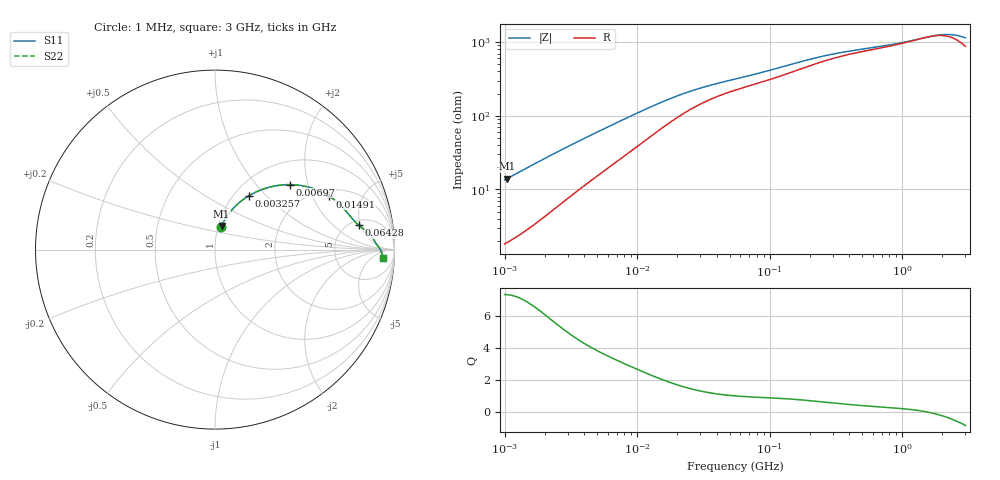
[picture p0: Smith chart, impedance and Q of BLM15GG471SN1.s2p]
! BLM15GG471SN1
# Hz S RI R 50
!Freq.(Hz) S11(Real) S11(Imag) S21(Real) S21(Imag) S12(Real) S12(Imag) S22(Real) S22(Imag)
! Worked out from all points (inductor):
!   401 points, 1 MHz to 3 GHz, reference 50 ohm
!   read as one part in series: L = 2.11 uH near 1.041 MHz
!   highest Q = 7.31 at 1.041 MHz (marker M1), where L = 2.12 uH
!   self-resonance near 1.551 GHz
!   S11 on the Smith chart (normalised r, x): 1 MHz: 1.04, +0.27; 3.257 MHz: 1.17, +0.81; 6.97 MHz: 1.47, +1.53; 14.91 MHz: 2.31, +2.70; 64.28 MHz: 5.86, +4.68; 3 GHz: 19, -15
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1000000  0.0345 0.1266  0.9655 -0.1266  0.9655 -0.1266  0.0345 0.1266
1040844  0.0365 0.1313  0.9635 -0.1313  0.9635 -0.1313  0.0365 0.1313
1897447  0.0895 0.2162  0.9105 -0.2162  0.9105 -0.2162  0.0895 0.2162
2511129  0.1344 0.2612  0.8656 -0.2612  0.8656 -0.2612  0.1344 0.2612
3257432  0.1901 0.3008  0.8099 -0.3008  0.8099 -0.3008  0.1901 0.3008
3823119  0.2308 0.3221  0.7692 -0.3221  0.7692 -0.3221  0.2308 0.3221
5266264  0.3246 0.3527  0.6754 -0.3527  0.6754 -0.3527  0.3246 0.3527
6969505  0.4154 0.362  0.5846 -0.362  0.5846 -0.362  0.4154 0.362
9794439  0.5251 0.3472  0.4749 -0.3472  0.4749 -0.3472  0.5251 0.3472
1.461624e7  0.633 0.2993  0.367 -0.2993  0.367 -0.2993  0.633 0.2993
1.491174e7  0.6375 0.2964  0.3625 -0.2964  0.3625 -0.2964  0.6375 0.2964
1.934349e7  0.6878 0.2575  0.3122 -0.2575  0.3122 -0.2575  0.6878 0.2575
2.559965e7  0.7269 0.2178  0.2731 -0.2178  0.2731 -0.2178  0.7269 0.2178
3.670325e7  0.7614 0.1767  0.2386 -0.1767  0.2386 -0.1767  0.7614 0.1767
5.477226e7  0.7902 0.1452  0.2098 -0.1452  0.2098 -0.1452  0.7902 0.1452
6.428402e7  0.8012 0.1357  0.1988 -0.1357  0.1988 -0.1357  0.8012 0.1357
2.094008e8  0.8724 0.0733  0.1276 -0.0733  0.1276 -0.0733  0.8724 0.0733
3.453811e8  0.8874 0.0501  0.1126 -0.0501  0.1126 -0.0501  0.8874 0.0501
8.005644e8  0.9039 0.024  0.0961 -0.024  0.0961 -0.024  0.9039 0.024
1.970482e9  0.9276 -0.0142  0.0724 0.0142  0.0724 0.0142  0.9276 -0.0142
2.407135e9  0.9318 -0.0291  0.0682 0.0291  0.0682 0.0291  0.9318 -0.0291
3e9  0.9345 -0.0491  0.0655 0.0491  0.0655 0.0491  0.9345 -0.0491
